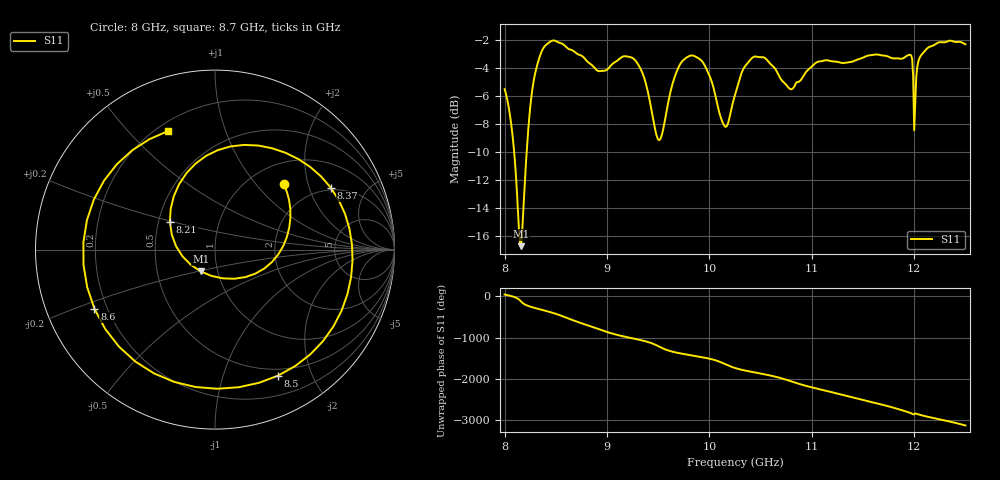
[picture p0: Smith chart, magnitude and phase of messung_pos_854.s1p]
#  HZ  S  RI  R  50.00
! Rohde & Schwarz Vector Network Analyzer
! Rohde-Schwarz,ZNA43-4Port,1332450044101932,2.92
! Created: UTC 6/1/2026, 11:33:56 AM
! freq[Hz]  re:S11  im:S11
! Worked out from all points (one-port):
!   451 points, 8 GHz to 12.5 GHz, reference 50 ohm
!   lowest |S11| = -16.8 dB at 8.16 GHz (marker M1), VSWR 1.34, Z = 41.5 - j10.3 ohm
!   |S11| at or under -10 dB: 8.093 GHz to 8.216 GHz (122.9 MHz wide, 1.51 % of centre)
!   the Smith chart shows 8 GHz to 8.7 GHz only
!   S11 on the Smith chart (normalised r, x): 8 GHz: 1.40, +1.42; 8.21 GHz: 0.58, +0.19; 8.37 GHz: 1.90, +2.82; 8.5 GHz: 0.42, -1.54; 8.6 GHz: 0.15, -0.23; 8.7 GHz: 0.24, +0.65
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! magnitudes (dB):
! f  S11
! 8 GHz  -5.5
! 8.07 GHz  -8.4
! 8.14 GHz  -15.6
! 8.16 GHz  -16.8
! 8.21 GHz  -10.6
! 8.27 GHz  -5.6
! 8.37 GHz  -2.7
! 8.5 GHz  -2.1
! 8.57 GHz  -2.3
! 8.6 GHz  -2.5
! 8.7 GHz  -3.0
! 8.93 GHz  -4.3
! 9.13 GHz  -3.3
! 9.33 GHz  -4.1
! 9.51 GHz  -9.2
! 9.69 GHz  -4.1
! 9.93 GHz  -3.6
! 10.15 GHz  -8.2
! 10.25 GHz  -5.9
! 10.45 GHz  -3.2
! 10.82 GHz  -5.4
! 11.05 GHz  -3.6
! 11.38 GHz  -3.6
! 11.94 GHz  -3.1
! 12.01 GHz  -6.6
! 12.05 GHz  -3.3
! 12.12 GHz  -2.7
! 12.5 GHz  -2.3
